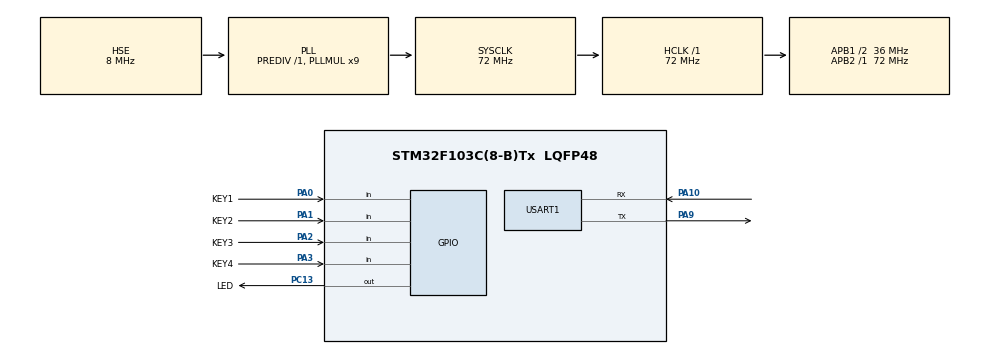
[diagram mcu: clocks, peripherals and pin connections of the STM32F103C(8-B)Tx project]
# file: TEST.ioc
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FREERTOS.BinarySemaphores01=myBinarySem01,Dynamic,NULL,Available
FREERTOS.CountingSemaphores01=myCountingSem01,4,Dynamic,NULL,0
FREERTOS.Events01=myEvent01,Dynamic,NULL;myEvent02,Dynamic,NULL
FREERTOS.Mutexes01=myMutex01,Dynamic,NULL,Available
FREERTOS.Queues01=myQueue01,16,uint16_t,0,Dynamic,NULL,NULL
FREERTOS.Tasks01=defaultTask,24,128,StartDefaultTask,Default,NULL,Dynamic,NULL,NULL;myTask02,8,128,StartTask02,Default,NULL,Dynamic,NULL,NULL;myTask03,8,128,StartTask03,Default,NULL,Dynamic,NULL,NULL
FREERTOS.Timers01=myTimer01,Callback01,osTimerOnce,Default,NULL,Dynamic,NULL;myTimer02,Callback02,osTimerPeriodic,Default,NULL,Dynamic,NULL
FREERTOS.configUSE_IDLE_HOOK=0
FREERTOS.configUSE_NEWLIB_REENTRANT=0
FREERTOS.configUSE_TICKLESS_IDLE=1
FREERTOS.copyHeapFile=0
Mcu.Family=STM32F1
Mcu.Name=STM32F103C(8-B)Tx
Mcu.Package=LQFP48
NVIC.PriorityGroup=NVIC_PRIORITYGROUP_4
NVIC.TIM1_UP_IRQn=true\:15\:0\:false\:false\:true\:false\:false\:true\:true
NVIC.TimeBase=TIM1_UP_IRQn
NVIC.TimeBaseIP=TIM1
NVIC.USART1_IRQn=true\:5\:0\:false\:false\:true\:true\:true\:true\:true
PA0-WKUP.GPIO_Label=KEY1
PA0-WKUP.GPIO_PuPd=GPIO_PULLUP
PA0-WKUP.Signal=GPIO_Input
PA1.GPIO_Label=KEY2
PA1.GPIO_PuPd=GPIO_PULLUP
PA1.Signal=GPIO_Input
PA10.Mode=Asynchronous
PA10.Signal=USART1_RX
PA13.Mode=Serial_Wire
PA13.Signal=SYS_JTMS-SWDIO
PA14.Mode=Serial_Wire
PA14.Signal=SYS_JTCK-SWCLK
PA2.GPIO_Label=KEY3
PA2.GPIO_PuPd=GPIO_PULLUP
PA2.Signal=GPIO_Input
PA3.GPIO_Label=KEY4
PA3.GPIO_PuPd=GPIO_PULLUP
PA3.Signal=GPIO_Input
PA9.Mode=Asynchronous
PA9.Signal=USART1_TX
PC13-TAMPER-RTC.GPIO_Label=LED
PC13-TAMPER-RTC.PinState=GPIO_PIN_SET
PC13-TAMPER-RTC.Signal=GPIO_Output
PD0-OSC_IN.Mode=HSE-External-Oscillator
PD0-OSC_IN.Signal=RCC_OSC_IN
PD1-OSC_OUT.Mode=HSE-External-Oscillator
PD1-OSC_OUT.Signal=RCC_OSC_OUT
ProjectManager.HeapSize=0x200
ProjectManager.StackSize=0x400
ProjectManager.TargetToolchain=CMake
RCC.AHBFreq_Value=72000000
RCC.APB1CLKDivider=RCC_HCLK_DIV2
RCC.APB1Freq_Value=36000000
RCC.APB1TimFreq_Value=72000000
RCC.APB2Freq_Value=72000000
RCC.APB2TimFreq_Value=72000000
RCC.HCLKFreq_Value=72000000
RCC.PLLMUL=RCC_PLL_MUL9
RCC.PLLSourceVirtual=RCC_PLLSOURCE_HSE
RCC.SYSCLKFreq_VALUE=72000000
RCC.SYSCLKSource=RCC_SYSCLKSOURCE_PLLCLK
RCC.USBFreq_Value=72000000
USART1.VirtualMode=VM_ASYNC
VP_FREERTOS_VS_CMSIS_V2.Mode=CMSIS_V2
VP_SYS_VS_tim1.Mode=TIM1
board=custom

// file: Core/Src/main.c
/* USER CODE BEGIN Header */
/**
  ******************************************************************************
  * @file           : main.c
  * @brief          : Main program body
  ******************************************************************************
  * @attention
  *
  * Copyright (c) 2025 STMicroelectronics.
  * All rights reserved.
  *
  * This software is licensed under terms that can be found in the LICENSE file
  * in the root directory of this software component.
  * If no LICENSE file comes with this software, it is provided AS-IS.
  *
  ******************************************************************************
  */
/* USER CODE END Header */
#include "main.h"
#include "cmsis_os.h"
#include "usart.h"
#include "gpio.h"

/* USER CODE BEGIN Includes */
#include <stdio.h>
#include <assert.h>
#include "usart.h"
/* USER CODE END Includes */

void SystemClock_Config(void);
void MX_FREERTOS_Init(void);

int main(void)
{

  /* MCU Configuration--------------------------------------------------------*/

  /* Reset of all peripherals, Initializes the Flash interface and the Systick. */
  HAL_Init();

  /* Configure the system clock */
  SystemClock_Config();

  /* Initialize all configured peripherals */
  MX_GPIO_Init();
  MX_USART1_UART_Init();
  /* USER CODE BEGIN 2 */
  // 初始化LED为关闭状态（根据硬件连接可能需要调整）
  HAL_GPIO_WritePin(LED_GPIO_Port, LED_Pin, GPIO_PIN_RESET);
  uint8_t rec_data = 0;

  HAL_UART_Receive_IT(&huart1,&rec_data, 1);
  /* USER CODE END 2 */

  /* Init scheduler */
  osKernelInitialize();  /* Call init function for freertos objects (in cmsis_os2.c) */
  MX_FREERTOS_Init();

  /* Start scheduler */
  osKernelStart();

  /* We should never get here as control is now taken by the scheduler */

  /* Infinite loop */
  while (1)
  {

  }
}

void SystemClock_Config(void)
{
  RCC_OscInitTypeDef RCC_OscInitStruct = {0};
  RCC_ClkInitTypeDef RCC_ClkInitStruct = {0};

  /** Initializes the RCC Oscillators according to the specified parameters
  * in the RCC_OscInitTypeDef structure.
  */
  RCC_OscInitStruct.OscillatorType = RCC_OSCILLATORTYPE_HSE;
  RCC_OscInitStruct.HSEState = RCC_HSE_ON;
  RCC_OscInitStruct.HSEPredivValue = RCC_HSE_PREDIV_DIV1;
  RCC_OscInitStruct.HSIState = RCC_HSI_ON;
  RCC_OscInitStruct.PLL.PLLState = RCC_PLL_ON;
  RCC_OscInitStruct.PLL.PLLSource = RCC_PLLSOURCE_HSE;
  RCC_OscInitStruct.PLL.PLLMUL = RCC_PLL_MUL9;
  if (HAL_RCC_OscConfig(&RCC_OscInitStruct) != HAL_OK)
  {
    Error_Handler();
  }

  /** Initializes the CPU, AHB and APB buses clocks
  */
  RCC_ClkInitStruct.ClockType = RCC_CLOCKTYPE_HCLK|RCC_CLOCKTYPE_SYSCLK
                              |RCC_CLOCKTYPE_PCLK1|RCC_CLOCKTYPE_PCLK2;
  RCC_ClkInitStruct.SYSCLKSource = RCC_SYSCLKSOURCE_PLLCLK;
  RCC_ClkInitStruct.AHBCLKDivider = RCC_SYSCLK_DIV1;
  RCC_ClkInitStruct.APB1CLKDivider = RCC_HCLK_DIV2;
  RCC_ClkInitStruct.APB2CLKDivider = RCC_HCLK_DIV1;

  if (HAL_RCC_ClockConfig(&RCC_ClkInitStruct, FLASH_LATENCY_2) != HAL_OK)
  {
    Error_Handler();
  }
}

void HAL_TIM_PeriodElapsedCallback(TIM_HandleTypeDef *htim)
{
  if (htim->Instance == TIM1)
  {
    HAL_IncTick();
  }
}

void Error_Handler(void)
{
  __disable_irq();
  while (1)
  {
  }
}

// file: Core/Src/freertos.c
/* USER CODE BEGIN Header */
/**
  ******************************************************************************
  * File Name          : freertos.c
  * Description        : Code for freertos applications
  ******************************************************************************
  * @attention
  *
  * Copyright (c) 2026 STMicroelectronics.
  * All rights reserved.
  *
  * This software is licensed under terms that can be found in the LICENSE file
  * in the root directory of this software component.
  * If no LICENSE file comes with this software, it is provided AS-IS.
  *
  ******************************************************************************
  */
/* USER CODE END Header */

#include "FreeRTOS.h"
#include "task.h"
#include "main.h"
#include "cmsis_os.h"

/* USER CODE BEGIN Includes */
#include <stdio.h>
#include <assert.h>
#include "usart.h"
#include "key.h"
#include "queue.h"

/* USER CODE END Includes */

/* USER CODE BEGIN PD */
#define BIT0 (1 << 0)
#define BIT1 (1 << 1)
/* USER CODE END PD */

/* Definitions for defaultTask */
osThreadId_t defaultTaskHandle;
const osThreadAttr_t defaultTask_attributes = {
  .name = "defaultTask",
  .stack_size = 128 * 4,
  .priority = (osPriority_t) osPriorityNormal,
};
/* Definitions for myTask02 */
osThreadId_t myTask02Handle;
const osThreadAttr_t myTask02_attributes = {
  .name = "myTask02",
  .stack_size = 128 * 4,
  .priority = (osPriority_t) osPriorityLow,
};
/* Definitions for myTask03 */
osThreadId_t myTask03Handle;
const osThreadAttr_t myTask03_attributes = {
  .name = "myTask03",
  .stack_size = 128 * 4,
  .priority = (osPriority_t) osPriorityLow,
};
/* Definitions for myQueue01 */
osMessageQueueId_t myQueue01Handle;
const osMessageQueueAttr_t myQueue01_attributes = {
  .name = "myQueue01"
};
/* Definitions for myTimer01 */
osTimerId_t myTimer01Handle;
const osTimerAttr_t myTimer01_attributes = {
  .name = "myTimer01"
};
/* Definitions for myTimer02 */
osTimerId_t myTimer02Handle;
const osTimerAttr_t myTimer02_attributes = {
  .name = "myTimer02"
};
/* Definitions for myMutex01 */
osMutexId_t myMutex01Handle;
const osMutexAttr_t myMutex01_attributes = {
  .name = "myMutex01"
};
/* Definitions for myBinarySem01 */
osSemaphoreId_t myBinarySem01Handle;
const osSemaphoreAttr_t myBinarySem01_attributes = {
  .name = "myBinarySem01"
};
/* Definitions for myCountingSem01 */
osSemaphoreId_t myCountingSem01Handle;
const osSemaphoreAttr_t myCountingSem01_attributes = {
  .name = "myCountingSem01"
};
/* Definitions for myEvent01 */
osEventFlagsId_t myEvent01Handle;
const osEventFlagsAttr_t myEvent01_attributes = {
  .name = "myEvent01"
};
/* Definitions for myEvent02 */
osEventFlagsId_t myEvent02Handle;
const osEventFlagsAttr_t myEvent02_attributes = {
  .name = "myEvent02"
};

/* USER CODE BEGIN FunctionPrototypes */
QueueSetHandle_t xqueueSetHandle;

osMemoryPoolId_t myMemoryPoolHandle;
const osMemoryPoolAttr_t myMemoryPool_attributes = {
  .name = "myMemoryPool"
};

/* USER CODE END FunctionPrototypes */

void StartDefaultTask(void *argument);
void StartTask02(void *argument);
void StartTask03(void *argument);
void Callback01(void *argument);
void Callback02(void *argument);

void MX_FREERTOS_Init(void); /* (MISRA C 2004 rule 8.1) */

/* USER CODE BEGIN PREPOSTSLEEP */
__weak void PreSleepProcessing(uint32_t *ulExpectedIdleTime)
{
  // 进入睡眠模式前的处理：手动关闭外设时钟
  HAL_StatusTypeDef res;
  res=HAL_RCC_ClockConfig(RCC_SYSCLKSOURCE_HSI, RCC_HCLK_DIV1);
  if(res != HAL_OK)
  {
    printf("HAL_RCC_ClockConfig error: %d\n", res);
  }

/* place for user code */
}

__weak void PostSleepProcessing(uint32_t *ulExpectedIdleTime)
{
// 从睡眠模式唤醒后的处理：手动开启外设时钟
  HAL_StatusTypeDef res;
  res = HAL_RCC_ClockConfig(RCC_SYSCLKSOURCE_HSI, RCC_HCLK_DIV2);
  if(res != HAL_OK)
  {
    printf("HAL_RCC_ClockConfig error: %d\n", res);
  }
/* place for user code */

}
/* USER CODE END PREPOSTSLEEP */

void MX_FREERTOS_Init(void) {
  /* USER CODE BEGIN Init */
  myMemoryPoolHandle = osMemoryPoolNew(1, sizeof(uint16_t), &myMemoryPool_attributes);
  if(myMemoryPoolHandle == NULL)
  {
    printf("memory pool create failed!\r\n");
  }

  /* USER CODE END Init */
  /* Create the mutex(es) */
  /* creation of myMutex01 */
  myMutex01Handle = osMutexNew(&myMutex01_attributes);

  /* Create the semaphores(s) */
  /* creation of myBinarySem01 */
  myBinarySem01Handle = osSemaphoreNew(1, 1, &myBinarySem01_attributes);

  /* creation of myCountingSem01 */
  myCountingSem01Handle = osSemaphoreNew(4, 0, &myCountingSem01_attributes);

  /* Create the timer(s) */
  /* creation of myTimer01 */
  myTimer01Handle = osTimerNew(Callback01, osTimerOnce, NULL, &myTimer01_attributes);

  /* creation of myTimer02 */
  myTimer02Handle = osTimerNew(Callback02, osTimerPeriodic, NULL, &myTimer02_attributes);

  /* Create the queue(s) */
  /* creation of myQueue01 */
  myQueue01Handle = osMessageQueueNew (16, sizeof(uint16_t), &myQueue01_attributes);

  /* Create the thread(s) */
  /* creation of defaultTask */
  defaultTaskHandle = osThreadNew(StartDefaultTask, NULL, &defaultTask_attributes);

  /* creation of myTask02 */
  myTask02Handle = osThreadNew(StartTask02, NULL, &myTask02_attributes);

  /* creation of myTask03 */
  myTask03Handle = osThreadNew(StartTask03, NULL, &myTask03_attributes);

  /* creation of myEvent01 */
  myEvent01Handle = osEventFlagsNew(&myEvent01_attributes);

  /* creation of myEvent02 */
  myEvent02Handle = osEventFlagsNew(&myEvent02_attributes);

  /* USER CODE BEGIN RTOS_EVENTS */
  xqueueSetHandle = xQueueCreateSet(3); // 创建一个队列集，大小为3
  // 将队列和信号量添加到队列集中,添加时队列和信号量必须为空，即没有等待的任务
  xQueueAddToSet(myQueue01Handle, xqueueSetHandle); // 将 myQueue01Handle 添加到队列集 xqueueSetHandle 中
  xQueueAddToSet(myBinarySem01Handle, xqueueSetHandle); // 将 myBinarySem01Handle 添加到队列集 xqueueSetHandle 中
  xQueueAddToSet(myCountingSem01Handle, xqueueSetHandle); // 将 myCountingSem01Handle 添加到队列集 xqueueSetHandle 中
  /* add events, ... */
  /* USER CODE END RTOS_EVENTS */

}

void StartDefaultTask(void *argument)
{
  /* USER CODE BEGIN StartDefaultTask */
  uint16_t msg = 0;
  osStatus_t status;
  //uint32_t eventFlags;
  uint32_t rflags;
  uint32_t expectFlags;
  /* Infinite loop */
  for(;;)
  {
    //事件标志组
    // eventFlags = osEventFlagsWait(myEvent01Handle, BIT0 & BIT1, osFlagsWaitAll, osWaitForever); // 等待事件标志BIT0和BIT1都被设置
    // printf("事件标志组接收成功,开始执行下面的任务, eventFlags=%d\r\n",(int)eventFlags); // 打印事件标志的当前状态

    //任务通知 置位的都是对方TCB的任务通知位的[0]第一位，所以接收前后接受后都要清零
    rflags = osThreadFlagsWait(0xFFFFFFFF, osFlagsWaitAll, osWaitForever); // 等待任务通知的位被设置
    //0xFFFFFFFF（全1）表示接收到一个任务通知位后要清零
    if(rflags & BIT0 )
    {
      printf("BIT0 set:%d\r\n",(int)(rflags & BIT0)); // 打印任务通知的当前状态
      expectFlags |= BIT0;
    }
    if(rflags & BIT1 )
    {
      printf("BIT1 set:%d\r\n",(int)(rflags & BIT1)); // 打印任务通知的当前状态
      expectFlags |= BIT1;
    }
    if(expectFlags == (BIT0|BIT1))
    {
      printf("任务通知模拟事件标志组接收成功,开始执行里面任务\r\n");
      expectFlags = 0;
    }

    osMutexAcquire(myMutex01Handle, portMAX_DELAY); // 获取互斥锁
    printf("Mutex acquired successfully.\r\n");
    msg++; // 递增消息值
    status = osMessageQueuePut(myQueue01Handle, &msg, 0, 0);// 非阻塞发送消息
    if(status == osOK)
    {
      printf("Message %d sent to queue successfully.\r\n", msg);
    }
    else
    {
      printf("Failed to send message %d to queue.\r\n", msg);
    }

    // 翻转LED状态
    HAL_GPIO_TogglePin(LED_GPIO_Port, LED_Pin);

    // 延时
    HAL_Delay(3000);

    osMutexRelease(myMutex01Handle);
    printf("task released successfully \r\n");
    osDelay(500); // 使用FreeRTOS的延时函数，单位为毫秒
  }
  /* USER CODE END StartDefaultTask */
}

void StartTask02(void *argument)
{
  /* USER CODE BEGIN StartTask02 */
  uint16_t msg = 0;
  osStatus_t status_1, status_2, status_3;
  QueueSetMemberHandle_t member;
  /* Infinite loop */
  for(;;)
  {
    member = xQueueSelectFromSet(xqueueSetHandle, portMAX_DELAY);
    if(member == myQueue01Handle)
    {
      status_1 = osMessageQueueGet(myQueue01Handle, &msg, 0,portMAX_DELAY);
      if(status_1 == osOK)
      {
        printf("Message %d received from queue successfully.\r\n", msg);
      }
    }
    else if(member == myBinarySem01Handle)
    {
      status_2 = osSemaphoreAcquire(myBinarySem01Handle, portMAX_DELAY);
      if(status_2 == osOK)
      {
       printf("二进制信号量的计数值=%d\r\n",(int)osSemaphoreGetCount(myBinarySem01Handle));
      }
    }
    else if(member == myCountingSem01Handle)
    {
      status_3 = osSemaphoreAcquire(myCountingSem01Handle, portMAX_DELAY);
      if(status_3 == osOK)
      {
        printf("计数信号量的计数值=%d\r\n",(int)osSemaphoreGetCount(myCountingSem01Handle));
      }
    }
    else
    {
      printf("Unknown event.\r\n");
    }
       osDelay(1000);
  }
  /* USER CODE END StartTask02 */
}

void StartTask03(void *argument)
{
  /* USER CODE BEGIN StartTask03 */
  osStatus_t status_1, status_2;
  uint8_t key = 0;
  osStatus_t res;
  uint32_t rflags;
  void* buff = NULL;
  /* Infinite loop */
  for(;;)
  {
    key = Key_Detect();
    if (key == KEY1_PRESS) {
      status_1 = osSemaphoreRelease(myBinarySem01Handle);
      if (status_1 == osOK) {
        printf("Binary semaphore released successfully.\r\n");
      }

      //软件定时器
      res = osTimerStart(myTimer01Handle, portMAX_DELAY);
      if(res == osOK)
      {
        printf("Timer1单次定时器启动成功.\r\n");
      }
      res = osTimerStart(myTimer02Handle, portMAX_DELAY);
      if(res == osOK)
      {
        printf("Timer2周期性定时器启动成功.\r\n");
      }

    } else if (key == KEY2_PRESS)
    {
      status_2 = osSemaphoreRelease(myCountingSem01Handle);
      if (status_2 == osOK) {
        printf("Counting semaphore released successfully.\r\n");
      }

      //软件定时器
      res = osTimerStop(myTimer01Handle);
      if(res == osOK)
      {
        printf("Timer1单次定时器停止成功.\r\n");
      }
      res = osTimerStop(myTimer02Handle);
      if(res == osOK)
      {
        printf("Timer2周期性定时器停止成功.\r\n");
      }

    }
    else if(key == KEY3_PRESS)
    {
      // // 设置事件标志，对bit0进行置位操作
      // osEventFlagsSet(myEvent01Handle, BIT0);
      // printf("KEY3_PRESS pressed bit0=%d\r\n",BIT0);

      //任务通知
      rflags = osThreadFlagsSet(defaultTaskHandle, BIT0); // 设置任务通知的位
      if(rflags == osOK)
      {
        printf("KEY3_PRESS pressed bit0=%d\r\n",BIT0);
      }

      // 从内存池释放内存
      res = osMemoryPoolFree(myMemoryPoolHandle, buff);
      if(res == osOK)
      {
        printf("KEY3_PRESS pressed memory pool freed %d.\r\n",(int)osMemoryPoolGetBlockSize(myMemoryPoolHandle));
      }

      // res = osMemoryPoolDelete(myMemoryPoolHandle);
      // if(res == osOK)
      // {
      //   printf("KEY3_PRESS pressed memory pool deleted successfully.\r\n");
      // }

    }
    else if(key == KEY4_PRESS)
    {
      // // 设置事件标志，对bit1进行置位操作
      // osEventFlagsSet(myEvent01Handle, BIT1);
      // printf("KEY4_PRESS pressed bit1=%d\r\n",BIT1);

      //任务通知
      rflags = osThreadFlagsSet(defaultTaskHandle, BIT1); // 设置任务通知的位
      if(rflags == osOK)
      {
        printf("KEY4_PRESS pressed bit1=%d\r\n",BIT1);
      }

      // 内存池分配
      buff = osMemoryPoolAlloc(myMemoryPoolHandle, portMAX_DELAY);
      *(uint16_t *)buff = 0x1234;
      printf("KEY4_PRESS pressed memory pool allocated %d.\r\n",(int)osMemoryPoolGetBlockSize(myMemoryPoolHandle));
      printf("KEY4_PRESS pressed memory pool allocated value=%d.\r\n",*(uint16_t *)buff);

    }

    osDelay(2000);
  }
  /* USER CODE END StartTask03 */
}

/* Callback01 function */
void Callback01(void *argument)
{
  /* USER CODE BEGIN Callback01 */
  // 软件定时器回调函数(一次性的)
  static int count = 0;  // static将count设为静态变量，确保在每次调用时保持不变
  count++;
  printf("Timer1单次定时器超时回调函数执行次数=%d\r\n",count);

  /* USER CODE END Callback01 */
}

/* Callback02 function */
void Callback02(void *argument)
{
  /* USER CODE BEGIN Callback02 */
  // 软件定时器回调函数(周期性的)
  static int count = 0;
  count++;
  printf("Timer2周期性定时器超时回调函数执行次数=%d\r\n",count);

  /* USER CODE END Callback02 */
}

/* USER CODE BEGIN Application */
int fputc(int ch, FILE *f)
{
  HAL_UART_Transmit(&huart1, (uint8_t *)&ch, 1, 0xFFFF);
  return ch;
}
/* USER CODE END Application */
